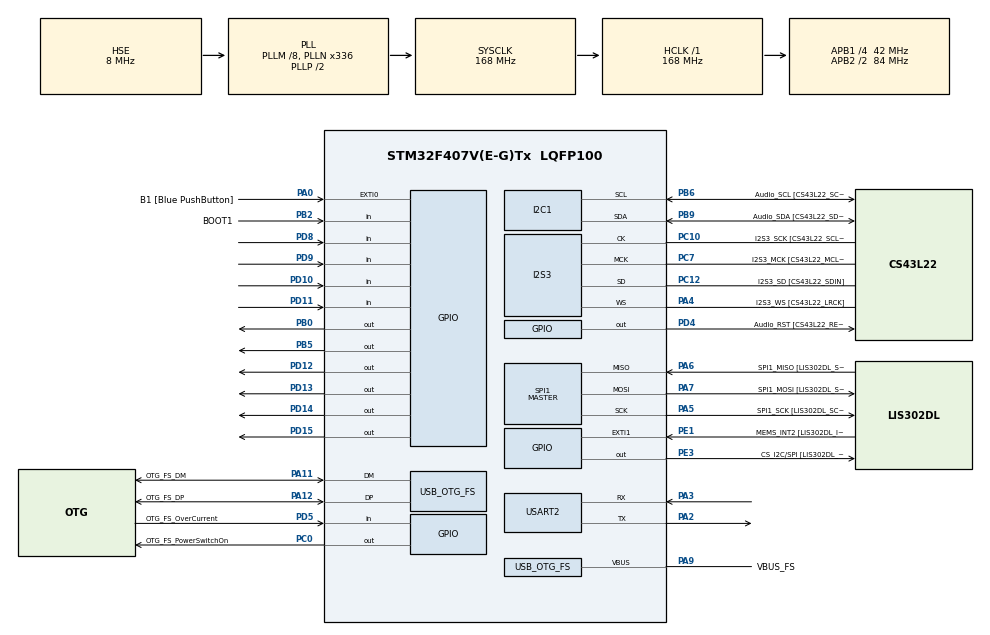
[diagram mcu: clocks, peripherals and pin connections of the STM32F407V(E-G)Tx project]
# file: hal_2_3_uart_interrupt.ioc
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I2S3.AudioFreq-Half_Duplex_Master=I2S_AUDIOFREQ_96K
I2S3.ErrorAudioFreq=-2.34 %
I2S3.ErrorAudioFreq-Half_Duplex_Master=0.8 %
I2S3.FullDuplexMode=I2S_FULLDUPLEXMODE_DISABLE
I2S3.Instance=SPI$Index
I2S3.RealAudioFreq=93.75 KHz
I2S3.RealAudioFreq-Half_Duplex_Master=96.774 KHz
I2S3.VirtualMode=I2S_MODE_MASTER
Mcu.Family=STM32F4
Mcu.Name=STM32F407V(E-G)Tx
Mcu.Package=LQFP100
NVIC.OTG_FS_IRQn=true\:0\:0\:false\:true\:true\:2\:true\:true
NVIC.PriorityGroup=NVIC_PRIORITYGROUP_0
NVIC.USART2_IRQn=true\:0\:0\:false\:true\:true\:1\:true\:true
PA0-WKUP.GPIO_Label=B1 [Blue PushButton]
PA0-WKUP.GPIO_ModeDefaultEXTI=GPIO_MODE_EVT_RISING
PA0-WKUP.GPIO_PuPd=GPIO_NOPULL
PA0-WKUP.Signal=GPXTI0
PA10.GPIO_Label=OTG_FS_ID
PA10.GPIO_Mode=GPIO_MODE_AF_PP
PA10.GPIO_PuPd=GPIO_NOPULL
PA10.GPIO_Speed=GPIO_SPEED_FREQ_LOW
PA10.Signal=USB_OTG_FS_ID
PA11.GPIO_Label=OTG_FS_DM
PA11.GPIO_Mode=GPIO_MODE_AF_PP
PA11.GPIO_PuPd=GPIO_NOPULL
PA11.GPIO_Speed=GPIO_SPEED_FREQ_LOW
PA11.Mode=Host_Only
PA11.Signal=USB_OTG_FS_DM
PA12.GPIO_Label=OTG_FS_DP
PA12.GPIO_Mode=GPIO_MODE_AF_PP
PA12.GPIO_PuPd=GPIO_NOPULL
PA12.GPIO_Speed=GPIO_SPEED_FREQ_LOW
PA12.Mode=Host_Only
PA12.Signal=USB_OTG_FS_DP
PA13.GPIO_Label=SWDIO
PA13.Mode=Serial_Wire
PA13.Signal=SYS_JTMS-SWDIO
PA14.GPIO_Label=SWCLK
PA14.Mode=Serial_Wire
PA14.Signal=SYS_JTCK-SWCLK
PA2.Mode=Asynchronous
PA2.Signal=USART2_TX
PA3.Mode=Asynchronous
PA3.Signal=USART2_RX
PA4.GPIO_Label=I2S3_WS [CS43L22_LRCK]
PA4.GPIO_Mode=GPIO_MODE_AF_PP
PA4.GPIO_PuPd=GPIO_NOPULL
PA4.GPIO_Speed=GPIO_SPEED_FREQ_LOW
PA4.Mode=Half_Duplex_Master
PA4.Signal=I2S3_WS
PA5.GPIO_Label=SPI1_SCK [LIS302DL_SCL/SPC]
PA5.GPIO_Mode=GPIO_MODE_AF_PP
PA5.GPIO_PuPd=GPIO_NOPULL
PA5.GPIO_Speed=GPIO_SPEED_FREQ_LOW
PA5.Mode=Full_Duplex_Master
PA5.Signal=SPI1_SCK
PA6.GPIO_Label=SPI1_MISO [LIS302DL_SDO]
PA6.GPIO_Mode=GPIO_MODE_AF_PP
PA6.GPIO_PuPd=GPIO_NOPULL
PA6.GPIO_Speed=GPIO_SPEED_FREQ_LOW
PA6.Mode=Full_Duplex_Master
PA6.Signal=SPI1_MISO
PA7.GPIO_Label=SPI1_MOSI [LIS302DL_SDA/SDI/SDO]
PA7.GPIO_Mode=GPIO_MODE_AF_PP
PA7.GPIO_PuPd=GPIO_NOPULL
PA7.GPIO_Speed=GPIO_SPEED_FREQ_LOW
PA7.Mode=Full_Duplex_Master
PA7.Signal=SPI1_MOSI
PA9.GPIO_Label=VBUS_FS
PA9.GPIO_Mode=GPIO_MODE_INPUT
PA9.GPIO_PuPd=GPIO_NOPULL
PA9.Mode=Activate_VBUS
PA9.Signal=USB_OTG_FS_VBUS
PB0.Signal=GPIO_Output
PB10.GPIO_Label=CLK_IN [MP45DT02_CLK]
PB10.GPIO_Mode=GPIO_MODE_AF_PP
PB10.GPIO_PuPd=GPIO_NOPULL
PB10.GPIO_Speed=GPIO_SPEED_FREQ_LOW
PB10.Signal=I2S2_CK
PB2.GPIO_Label=BOOT1
PB2.GPIO_Mode=GPIO_MODE_INPUT
PB2.GPIO_PuPd=GPIO_NOPULL
PB2.Signal=GPIO_Input
PB3.GPIO_Label=SWO
PB3.Signal=SYS_JTDO-SWO
PB5.Signal=GPIO_Output
PB6.GPIO_Label=Audio_SCL [CS43L22_SCL]
PB6.GPIO_Mode=GPIO_MODE_AF_OD
PB6.GPIO_PuPd=GPIO_NOPULL
PB6.GPIO_Speed=GPIO_SPEED_FREQ_LOW
PB6.Mode=I2C
PB6.Signal=I2C1_SCL
PB9.GPIO_Label=Audio_SDA [CS43L22_SDA]
PB9.GPIO_Mode=GPIO_MODE_AF_OD
PB9.GPIO_PuPd=GPIO_NOPULL
PB9.GPIO_Speed=GPIO_SPEED_FREQ_LOW
PB9.Mode=I2C
PB9.Signal=I2C1_SDA
PC0.GPIO_Label=OTG_FS_PowerSwitchOn
PC0.GPIO_PuPd=GPIO_NOPULL
PC0.GPIO_Speed=GPIO_SPEED_FREQ_LOW
PC0.PinState=GPIO_PIN_SET
PC0.Signal=GPIO_Output
PC10.GPIO_Label=I2S3_SCK [CS43L22_SCLK]
PC10.GPIO_Mode=GPIO_MODE_AF_PP
PC10.GPIO_PuPd=GPIO_NOPULL
PC10.GPIO_Speed=GPIO_SPEED_FREQ_LOW
PC10.Mode=Half_Duplex_Master
PC10.Signal=I2S3_CK
PC12.GPIO_Label=I2S3_SD [CS43L22_SDIN]
PC12.GPIO_Mode=GPIO_MODE_AF_PP
PC12.GPIO_PuPd=GPIO_NOPULL
PC12.GPIO_Speed=GPIO_SPEED_FREQ_LOW
PC12.Mode=Half_Duplex_Master
PC12.Signal=I2S3_SD
PC14-OSC32_IN.GPIO_Label=PC14-OSC32_IN
PC14-OSC32_IN.Mode=LSE-External-Oscillator
PC14-OSC32_IN.Signal=RCC_OSC32_IN
PC15-OSC32_OUT.GPIO_Label=PC15-OSC32_OUT
PC15-OSC32_OUT.Mode=LSE-External-Oscillator
PC15-OSC32_OUT.Signal=RCC_OSC32_OUT
PC3.GPIO_Label=PDM_OUT [MP45DT02_DOUT]
PC3.GPIO_Mode=GPIO_MODE_AF_PP
PC3.GPIO_PuPd=GPIO_NOPULL
PC3.GPIO_Speed=GPIO_SPEED_FREQ_LOW
PC3.Signal=I2S2_SD
PC7.GPIO_Label=I2S3_MCK [CS43L22_MCLK]
PC7.GPIO_Mode=GPIO_MODE_AF_PP
PC7.GPIO_PuPd=GPIO_NOPULL
PC7.GPIO_Speed=GPIO_SPEED_FREQ_LOW
PC7.Mode=Master_Clock_Activated
PC7.Signal=I2S3_MCK
PD10.Signal=GPIO_Input
PD11.Signal=GPIO_Input
PD12.GPIO_PuPd=GPIO_NOPULL
PD12.GPIO_Speed=GPIO_SPEED_FREQ_LOW
PD12.Signal=GPIO_Output
PD13.GPIO_PuPd=GPIO_NOPULL
PD13.GPIO_Speed=GPIO_SPEED_FREQ_LOW
PD13.Signal=GPIO_Output
PD14.GPIO_PuPd=GPIO_NOPULL
PD14.GPIO_Speed=GPIO_SPEED_FREQ_LOW
PD14.Signal=GPIO_Output
PD15.GPIO_PuPd=GPIO_NOPULL
PD15.GPIO_Speed=GPIO_SPEED_FREQ_LOW
PD15.Signal=GPIO_Output
PD4.GPIO_Label=Audio_RST [CS43L22_RESET]
PD4.GPIO_PuPd=GPIO_NOPULL
PD4.GPIO_Speed=GPIO_SPEED_FREQ_LOW
PD4.Signal=GPIO_Output
PD5.GPIO_Label=OTG_FS_OverCurrent
PD5.GPIO_Mode=GPIO_MODE_INPUT
PD5.GPIO_PuPd=GPIO_NOPULL
PD5.Signal=GPIO_Input
PD8.Signal=GPIO_Input
PD9.Signal=GPIO_Input
PE1.GPIO_Label=MEMS_INT2 [LIS302DL_INT2]
PE1.GPIO_ModeDefaultEXTI=GPIO_MODE_EVT_RISING
PE1.GPIO_PuPd=GPIO_NOPULL
PE1.Signal=GPXTI1
PE3.GPIO_Label=CS_I2C/SPI [LIS302DL_CS_I2C/SPI]
PE3.GPIO_PuPd=GPIO_NOPULL
PE3.GPIO_Speed=GPIO_SPEED_FREQ_LOW
PE3.Signal=GPIO_Output
PH0-OSC_IN.GPIO_Label=PH0-OSC_IN
PH0-OSC_IN.Mode=HSE-External-Oscillator
PH0-OSC_IN.Signal=RCC_OSC_IN
PH1-OSC_OUT.GPIO_Label=PH1-OSC_OUT
PH1-OSC_OUT.Mode=HSE-External-Oscillator
PH1-OSC_OUT.Signal=RCC_OSC_OUT
ProjectManager.HeapSize=0x200
ProjectManager.StackSize=0x400
ProjectManager.TargetToolchain=STM32CubeIDE
RCC.48MHZClocksFreq_Value=48000000
RCC.AHBFreq_Value=168000000
RCC.APB1CLKDivider=RCC_HCLK_DIV4
RCC.APB1Freq_Value=42000000
RCC.APB1TimFreq_Value=84000000
RCC.APB2CLKDivider=RCC_HCLK_DIV2
RCC.APB2Freq_Value=84000000
RCC.APB2TimFreq_Value=168000000
RCC.CortexFreq_Value=168000000
RCC.HCLKFreq_Value=168000000
RCC.HSE_VALUE=8000000
RCC.HSI_VALUE=16000000
RCC.PLLM=8
RCC.PLLN=336
RCC.PLLQ=7
RCC.SYSCLKFreq_VALUE=168000000
RCC.SYSCLKSource=RCC_SYSCLKSOURCE_PLLCLK
RCC.VCOOutputFreq_Value=336000000
SPI1.BaudRatePrescaler-Full_Duplex_Master=SPI_BAUDRATEPRESCALER_2
SPI1.CalculateBaudRate-Full_Duplex_Master=42.0 MBits/s
SPI1.Direction=SPI_DIRECTION_2LINES
SPI1.Mode=SPI_MODE_MASTER
SPI1.Mode-Full_Duplex_Master=SPI_MODE_MASTER
SPI1.VirtualType=VM_MASTER
USART2.VirtualMode=VM_ASYNC
USB_HOST.BSP.number=1
USB_HOST.USBH_HandleTypeDef-CDC_FS=hUsbHostFS
USB_HOST.VirtualModeFS=Cdc
USB_HOST0.BSP.STBoard=false
USB_HOST0.BSP.api=Unknown
USB_HOST0.BSP.i2caddr=0
USB_HOST0.BSP.i2creg=0
USB_HOST0.BSP.instance=PC0
USB_HOST0.BSP.ip=GPIO
USB_HOST0.BSP.mode=Output
USB_HOST0.BSP.name=Drive_VBUS_FS
USB_HOST0.BSP.solution=PC0
USB_OTG_FS.VirtualMode=Host_Only
USB_OTG_FS.phy_itface=HCD_PHY_EMBEDDED
VP_USB_HOST_VS_USB_HOST_CDC_FS.Mode=CDC_FS
board=STM32F407G-DISC1

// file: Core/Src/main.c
/* USER CODE BEGIN Header */
/**
 ******************************************************************************
 * @file           : main.c
 * @brief          : Main program body
 ******************************************************************************
 * @attention
 *
 * <h2><center>&copy; Copyright (c) 2020 STMicroelectronics.
 * All rights reserved.</center></h2>
 *
 * This software component is licensed by ST under Ultimate Liberty license
 * SLA0044, the "License"; You may not use this file except in compliance with
 * the License. You may obtain a copy of the License at:
 *                             www.st.com/SLA0044
 *
 ******************************************************************************
 */
/* USER CODE END Header */

#include "main.h"
#include "i2c.h"
#include "i2s.h"
#include "spi.h"
#include "usart.h"
#include "usb_host.h"
#include "gpio.h"

/* USER CODE BEGIN Includes */
#include <stdio.h>
/* USER CODE END Includes */

/* USER CODE BEGIN PV */
uint8_t rx2_data[10];

/* USER CODE END PV */

void SystemClock_Config(void);
static void MX_NVIC_Init(void);
void MX_USB_HOST_Process(void);

/* USER CODE BEGIN PFP */

int _write(int file, char *p, int len) {
	HAL_UART_Transmit(&huart2, p, len, 10);
	return len;
}

/* USER CODE END PFP */

int main(void)
{

	/* MCU Configuration--------------------------------------------------------*/

	/* Reset of all peripherals, Initializes the Flash interface and the Systick. */
	HAL_Init();

	/* Configure the system clock */
	SystemClock_Config();

	/* Initialize all configured peripherals */
	MX_GPIO_Init();
	MX_I2C1_Init();
	MX_I2S3_Init();
	MX_SPI1_Init();
	MX_USB_HOST_Init();
	MX_USART2_UART_Init();

	/* Initialize interrupts */
	MX_NVIC_Init();
	/* USER CODE BEGIN 2 */
	HAL_GPIO_WritePin(GPIOB, GPIO_PIN_0, GPIO_PIN_SET);
	HAL_GPIO_WritePin(GPIOB, GPIO_PIN_5, GPIO_PIN_SET);
	HAL_GPIO_WritePin(GPIOD, GPIO_PIN_15, GPIO_PIN_SET);

	//UART2 RX Interrupt
	HAL_UART_Receive_IT(&huart2, &rx2_data, 10);
	/* USER CODE END 2 */

	/* Infinite loop */
	/* USER CODE BEGIN WHILE */
	uint8_t a = 'a';
	float f = 1.234;
	while (1)
	{
		printf("Hello %d\n", a++);
		HAL_Delay(1000);
		//		if(HAL_GPIO_ReadPin(GPIOA, GPIO_PIN_0) == GPIO_PIN_SET) {
		//			HAL_GPIO_WritePin(GPIOD, GPIO_PIN_15, GPIO_PIN_SET);
		//		}
		//		else {
		//			HAL_GPIO_WritePin(GPIOD, GPIO_PIN_15, GPIO_PIN_RESET);
		//		}
		//		HAL_GPIO_WritePin(GPIOD, GPIO_PIN_12, GPIO_PIN_SET);
		//		HAL_GPIO_WritePin(GPIOD, GPIO_PIN_13, GPIO_PIN_SET);
		//		HAL_GPIO_WritePin(GPIOD, GPIO_PIN_14, GPIO_PIN_SET);
		//
		//		HAL_Delay(1000);
		//
		//		HAL_GPIO_WritePin(GPIOD, GPIO_PIN_12, GPIO_PIN_RESET);
		//		HAL_GPIO_WritePin(GPIOD, GPIO_PIN_13, GPIO_PIN_RESET);
		//		HAL_GPIO_WritePin(GPIOD, GPIO_PIN_14, GPIO_PIN_RESET);
		//
		//		HAL_Delay(1000);

		//		if(HAL_UART_Receive(&huart2, &a, 1, 10) == HAL_OK) {
		//			HAL_UART_Transmit(&huart2, &a, 1, 10);
		//		}
		/* USER CODE END WHILE */
		MX_USB_HOST_Process();

	}
}

void SystemClock_Config(void)
{
	RCC_OscInitTypeDef RCC_OscInitStruct = {0};
	RCC_ClkInitTypeDef RCC_ClkInitStruct = {0};
	RCC_PeriphCLKInitTypeDef PeriphClkInitStruct = {0};

	/** Configure the main internal regulator output voltage
	 */
	__HAL_RCC_PWR_CLK_ENABLE();
	__HAL_PWR_VOLTAGESCALING_CONFIG(PWR_REGULATOR_VOLTAGE_SCALE1);
	/** Initializes the CPU, AHB and APB busses clocks
	 */
	RCC_OscInitStruct.OscillatorType = RCC_OSCILLATORTYPE_HSE;
	RCC_OscInitStruct.HSEState = RCC_HSE_ON;
	RCC_OscInitStruct.PLL.PLLState = RCC_PLL_ON;
	RCC_OscInitStruct.PLL.PLLSource = RCC_PLLSOURCE_HSE;
	RCC_OscInitStruct.PLL.PLLM = 8;
	RCC_OscInitStruct.PLL.PLLN = 336;
	RCC_OscInitStruct.PLL.PLLP = RCC_PLLP_DIV2;
	RCC_OscInitStruct.PLL.PLLQ = 7;
	if (HAL_RCC_OscConfig(&RCC_OscInitStruct) != HAL_OK)
	{
		Error_Handler();
	}
	/** Initializes the CPU, AHB and APB busses clocks
	 */
	RCC_ClkInitStruct.ClockType = RCC_CLOCKTYPE_HCLK|RCC_CLOCKTYPE_SYSCLK
			|RCC_CLOCKTYPE_PCLK1|RCC_CLOCKTYPE_PCLK2;
	RCC_ClkInitStruct.SYSCLKSource = RCC_SYSCLKSOURCE_PLLCLK;
	RCC_ClkInitStruct.AHBCLKDivider = RCC_SYSCLK_DIV1;
	RCC_ClkInitStruct.APB1CLKDivider = RCC_HCLK_DIV4;
	RCC_ClkInitStruct.APB2CLKDivider = RCC_HCLK_DIV2;

	if (HAL_RCC_ClockConfig(&RCC_ClkInitStruct, FLASH_LATENCY_5) != HAL_OK)
	{
		Error_Handler();
	}
	PeriphClkInitStruct.PeriphClockSelection = RCC_PERIPHCLK_I2S;
	PeriphClkInitStruct.PLLI2S.PLLI2SN = 192;
	PeriphClkInitStruct.PLLI2S.PLLI2SR = 2;
	if (HAL_RCCEx_PeriphCLKConfig(&PeriphClkInitStruct) != HAL_OK)
	{
		Error_Handler();
	}
}

/**
 * @brief NVIC Configuration.
 * @retval None
 */
static void MX_NVIC_Init(void)
{
	/* USART2_IRQn interrupt configuration */
	HAL_NVIC_SetPriority(USART2_IRQn, 0, 0);
	HAL_NVIC_EnableIRQ(USART2_IRQn);
	/* OTG_FS_IRQn interrupt configuration */
	HAL_NVIC_SetPriority(OTG_FS_IRQn, 0, 0);
	HAL_NVIC_EnableIRQ(OTG_FS_IRQn);
}

/* USER CODE BEGIN 4 */
void HAL_UART_RxCpltCallback(UART_HandleTypeDef *huart) {
	if (huart -> Instance == USART2) {
		HAL_UART_Receive_IT(&huart2, &rx2_data, 10);
		HAL_UART_Transmit(&huart2, &rx2_data, 1, 10);
	}
}

/* USER CODE END 4 */

void Error_Handler(void)
{
}

/************************ (C) COPYRIGHT STMicroelectronics *****END OF FILE****/
